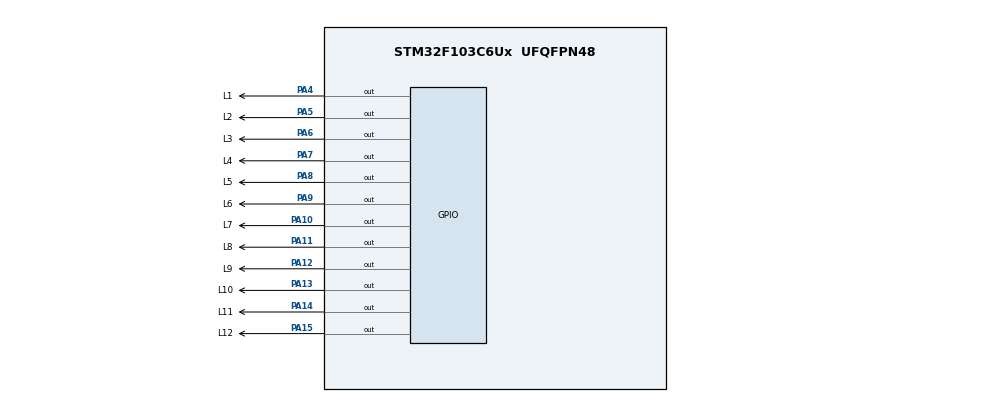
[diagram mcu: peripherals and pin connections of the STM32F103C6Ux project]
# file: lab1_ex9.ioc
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Mcu.Family=STM32F1
Mcu.Name=STM32F103C6Ux
Mcu.Package=UFQFPN48
NVIC.PriorityGroup=NVIC_PRIORITYGROUP_4
PA10.GPIO_Label=L7
PA10.Signal=GPIO_Output
PA11.GPIO_Label=L8
PA11.Signal=GPIO_Output
PA12.GPIO_Label=L9
PA12.Signal=GPIO_Output
PA13.GPIO_Label=L10
PA13.Signal=GPIO_Output
PA14.GPIO_Label=L11
PA14.Signal=GPIO_Output
PA15.GPIO_Label=L12
PA15.Signal=GPIO_Output
PA4.GPIO_Label=L1
PA4.Signal=GPIO_Output
PA5.GPIO_Label=L2
PA5.Signal=GPIO_Output
PA6.GPIO_Label=L3
PA6.Signal=GPIO_Output
PA7.GPIO_Label=L4
PA7.Signal=GPIO_Output
PA8.GPIO_Label=L5
PA8.Signal=GPIO_Output
PA9.GPIO_Label=L6
PA9.Signal=GPIO_Output
ProjectManager.HeapSize=0x200
ProjectManager.StackSize=0x400
ProjectManager.TargetToolchain=STM32CubeIDE
RCC.APB1Freq_Value=8000000
RCC.APB2Freq_Value=8000000
VP_SYS_VS_ND.Mode=No_Debug
board=custom

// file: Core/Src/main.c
/* USER CODE BEGIN Header */
/**
  ******************************************************************************
  * @file           : main.c
  * @brief          : Main program body
  ******************************************************************************
  * @attention
  *
  * <h2><center>&copy; Copyright (c) 2022 STMicroelectronics.
  * All rights reserved.</center></h2>
  *
  * This software component is licensed by ST under BSD 3-Clause license,
  * the "License"; You may not use this file except in compliance with the
  * License. You may obtain a copy of the License at:
  *                        opensource.org/licenses/BSD-3-Clause
  *
  ******************************************************************************
  */
/* USER CODE END Header */
#include "main.h"

void SystemClock_Config(void);
static void MX_GPIO_Init(void);

/* USER CODE BEGIN 0 */
void clearAllClock();
void setNumberOnClock(int num);
void clearNumberOnClock(int num);
/* USER CODE END 0 */

int main(void)
{

  /* MCU Configuration--------------------------------------------------------*/

  /* Reset of all peripherals, Initializes the Flash interface and the Systick. */
  HAL_Init();

  /* Configure the system clock */
  SystemClock_Config();

  /* Initialize all configured peripherals */
  MX_GPIO_Init();
  /* USER CODE BEGIN 2 */
  int counter = -1;
  clearAllClock();
  setNumberOnClock(0);
  /* USER CODE END 2 */

  /* Infinite loop */
  while (1)
  {

    /* USER CODE BEGIN 3 */
	  switch(counter) {
		  case 0: //LED 1 off, LED 2 on
			  clearNumberOnClock(0);
			  setNumberOnClock(1);
			  break;
		  case 1: //LED 2 off, LED 3 on
			  clearNumberOnClock(1);
			  setNumberOnClock(2);
			  break;
		  case 2: //LED 3 off, LED 4 on
			  clearNumberOnClock(2);
			  setNumberOnClock(3);
			  break;
		  case 3: //LED 4 off, LED 5 on
			  clearNumberOnClock(3);
			  setNumberOnClock(4);
			  break;
		  case 4: //LED 5 off, LED 6 on
			  clearNumberOnClock(4);
			  setNumberOnClock(5);
			  break;
		  case 5: //LED 6 off, LED 7 on
			  clearNumberOnClock(5);
			  setNumberOnClock(6);
			  break;
		  case 6: //LED 7 off, LED 8 on
			  clearNumberOnClock(6);
			  setNumberOnClock(7);
			  break;
		  case 7: //LED 8 off, LED 9 on
			  clearNumberOnClock(7);
			  setNumberOnClock(8);
			  break;
		  case 8: //LED 9 off, LED 10 on
			  clearNumberOnClock(8);
			  setNumberOnClock(9);
			  break;
		  case 9: //LED 10 off, LED 11 on
			  clearNumberOnClock(9);
			  setNumberOnClock(10);
			  break;
		  case 10: //LED 11 off, LED 12 on
			  clearNumberOnClock(10);
			  setNumberOnClock(11);
			  break;
		  case 11: //LED 12 off, LED 1 on
			  clearNumberOnClock(11);
			  setNumberOnClock(0);
			  break;
	  }
	  counter++;
	  if(counter >= 12)
		  counter = 0; //Repeat the above effect endlessly.
	  HAL_Delay(1000);
  }
  /* USER CODE END 3 */
}

void SystemClock_Config(void)
{
  RCC_OscInitTypeDef RCC_OscInitStruct = {0};
  RCC_ClkInitTypeDef RCC_ClkInitStruct = {0};

  /** Initializes the RCC Oscillators according to the specified parameters
  * in the RCC_OscInitTypeDef structure.
  */
  RCC_OscInitStruct.OscillatorType = RCC_OSCILLATORTYPE_HSI;
  RCC_OscInitStruct.HSIState = RCC_HSI_ON;
  RCC_OscInitStruct.HSICalibrationValue = RCC_HSICALIBRATION_DEFAULT;
  RCC_OscInitStruct.PLL.PLLState = RCC_PLL_NONE;
  if (HAL_RCC_OscConfig(&RCC_OscInitStruct) != HAL_OK)
  {
    Error_Handler();
  }
  /** Initializes the CPU, AHB and APB buses clocks
  */
  RCC_ClkInitStruct.ClockType = RCC_CLOCKTYPE_HCLK|RCC_CLOCKTYPE_SYSCLK
                              |RCC_CLOCKTYPE_PCLK1|RCC_CLOCKTYPE_PCLK2;
  RCC_ClkInitStruct.SYSCLKSource = RCC_SYSCLKSOURCE_HSI;
  RCC_ClkInitStruct.AHBCLKDivider = RCC_SYSCLK_DIV1;
  RCC_ClkInitStruct.APB1CLKDivider = RCC_HCLK_DIV1;
  RCC_ClkInitStruct.APB2CLKDivider = RCC_HCLK_DIV1;

  if (HAL_RCC_ClockConfig(&RCC_ClkInitStruct, FLASH_LATENCY_0) != HAL_OK)
  {
    Error_Handler();
  }
}

static void MX_GPIO_Init(void)
{
  GPIO_InitTypeDef GPIO_InitStruct = {0};

  /* GPIO Ports Clock Enable */
  __HAL_RCC_GPIOA_CLK_ENABLE();

  /*Configure GPIO pin Output Level */
  HAL_GPIO_WritePin(GPIOA, L1_Pin|L2_Pin|L3_Pin|L4_Pin
                          |L5_Pin|L6_Pin|L7_Pin|L8_Pin
                          |L9_Pin|L10_Pin|L11_Pin|L12_Pin, GPIO_PIN_RESET);

  /*Configure GPIO pins : L1_Pin L2_Pin L3_Pin L4_Pin
                           L5_Pin L6_Pin L7_Pin L8_Pin
                           L9_Pin L10_Pin L11_Pin L12_Pin */
  GPIO_InitStruct.Pin = L1_Pin|L2_Pin|L3_Pin|L4_Pin
                          |L5_Pin|L6_Pin|L7_Pin|L8_Pin
                          |L9_Pin|L10_Pin|L11_Pin|L12_Pin;
  GPIO_InitStruct.Mode = GPIO_MODE_OUTPUT_PP;
  GPIO_InitStruct.Pull = GPIO_NOPULL;
  GPIO_InitStruct.Speed = GPIO_SPEED_FREQ_LOW;
  HAL_GPIO_Init(GPIOA, &GPIO_InitStruct);

}

/* USER CODE BEGIN 4 */
void clearAllClock() {
	HAL_GPIO_WritePin(L1_GPIO_Port, L1_Pin, GPIO_PIN_SET);
	HAL_GPIO_WritePin(L2_GPIO_Port, L2_Pin, GPIO_PIN_SET);
	HAL_GPIO_WritePin(L3_GPIO_Port, L3_Pin, GPIO_PIN_SET);
	HAL_GPIO_WritePin(L4_GPIO_Port, L4_Pin, GPIO_PIN_SET);
	HAL_GPIO_WritePin(L5_GPIO_Port, L5_Pin, GPIO_PIN_SET);
	HAL_GPIO_WritePin(L6_GPIO_Port, L6_Pin, GPIO_PIN_SET);
	HAL_GPIO_WritePin(L7_GPIO_Port, L7_Pin, GPIO_PIN_SET);
	HAL_GPIO_WritePin(L8_GPIO_Port, L8_Pin, GPIO_PIN_SET);
	HAL_GPIO_WritePin(L9_GPIO_Port, L9_Pin, GPIO_PIN_SET);
	HAL_GPIO_WritePin(L10_GPIO_Port, L10_Pin, GPIO_PIN_SET);
	HAL_GPIO_WritePin(L11_GPIO_Port, L11_Pin, GPIO_PIN_SET);
	HAL_GPIO_WritePin(L12_GPIO_Port, L12_Pin, GPIO_PIN_SET);
}

void setNumberOnClock(int num) {
	switch(num) {
	case 0:
		HAL_GPIO_WritePin(L1_GPIO_Port, L1_Pin, GPIO_PIN_RESET);
		break;
	case 1:
		HAL_GPIO_WritePin(L2_GPIO_Port, L2_Pin, GPIO_PIN_RESET);
		break;
	case 2:
		HAL_GPIO_WritePin(L3_GPIO_Port, L3_Pin, GPIO_PIN_RESET);
		break;
	case 3:
		HAL_GPIO_WritePin(L4_GPIO_Port, L4_Pin, GPIO_PIN_RESET);
		break;
	case 4:
		HAL_GPIO_WritePin(L5_GPIO_Port, L5_Pin, GPIO_PIN_RESET);
		break;
	case 5:
		HAL_GPIO_WritePin(L6_GPIO_Port, L6_Pin, GPIO_PIN_RESET);
		break;
	case 6:
		HAL_GPIO_WritePin(L7_GPIO_Port, L7_Pin, GPIO_PIN_RESET);
		break;
	case 7:
		HAL_GPIO_WritePin(L8_GPIO_Port, L8_Pin, GPIO_PIN_RESET);
		break;
	case 8:
		HAL_GPIO_WritePin(L9_GPIO_Port, L9_Pin, GPIO_PIN_RESET);
		break;
	case 9:
		HAL_GPIO_WritePin(L10_GPIO_Port, L10_Pin, GPIO_PIN_RESET);
		break;
	case 10:
		HAL_GPIO_WritePin(L11_GPIO_Port, L11_Pin, GPIO_PIN_RESET);
		break;
	case 11:
		HAL_GPIO_WritePin(L12_GPIO_Port, L12_Pin, GPIO_PIN_RESET);
		break;
	}
}

void clearNumberOnClock(int num) {
	switch(num) {
	case 0:
		HAL_GPIO_WritePin(L1_GPIO_Port, L1_Pin, GPIO_PIN_SET);
		break;
	case 1:
		HAL_GPIO_WritePin(L2_GPIO_Port, L2_Pin, GPIO_PIN_SET);
		break;
	case 2:
		HAL_GPIO_WritePin(L3_GPIO_Port, L3_Pin, GPIO_PIN_SET);
		break;
	case 3:
		HAL_GPIO_WritePin(L4_GPIO_Port, L4_Pin, GPIO_PIN_SET);
		break;
	case 4:
		HAL_GPIO_WritePin(L5_GPIO_Port, L5_Pin, GPIO_PIN_SET);
		break;
	case 5:
		HAL_GPIO_WritePin(L6_GPIO_Port, L6_Pin, GPIO_PIN_SET);
		break;
	case 6:
		HAL_GPIO_WritePin(L7_GPIO_Port, L7_Pin, GPIO_PIN_SET);
		break;
	case 7:
		HAL_GPIO_WritePin(L8_GPIO_Port, L8_Pin, GPIO_PIN_SET);
		break;
	case 8:
		HAL_GPIO_WritePin(L9_GPIO_Port, L9_Pin, GPIO_PIN_SET);
		break;
	case 9:
		HAL_GPIO_WritePin(L10_GPIO_Port, L10_Pin, GPIO_PIN_SET);
		break;
	case 10:
		HAL_GPIO_WritePin(L11_GPIO_Port, L11_Pin, GPIO_PIN_SET);
		break;
	case 11:
		HAL_GPIO_WritePin(L12_GPIO_Port, L12_Pin, GPIO_PIN_SET);
		break;
	}
}
/* USER CODE END 4 */

void Error_Handler(void)
{
  __disable_irq();
  while (1)
  {
  }
}

/************************ (C) COPYRIGHT STMicroelectronics *****END OF FILE****/
